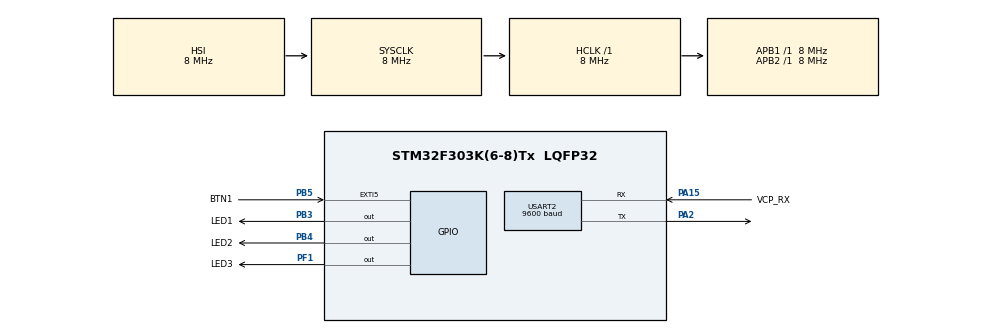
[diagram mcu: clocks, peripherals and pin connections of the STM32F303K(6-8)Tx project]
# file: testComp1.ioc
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Mcu.Family=STM32F3
Mcu.Name=STM32F303K(6-8)Tx
Mcu.Package=LQFP32
NVIC.EXTI9_5_IRQn=true\:0\:0\:false\:false\:true\:true\:true\:true
NVIC.PriorityGroup=NVIC_PRIORITYGROUP_4
NVIC.USART2_IRQn=true\:0\:0\:false\:false\:true\:true\:true\:true
PA13.GPIO_Label=SWDIO
PA13.Signal=SYS_JTMS-SWDIO
PA14.GPIO_Label=SWCLK
PA14.Signal=SYS_JTCK-SWCLK
PA15.GPIO_Label=VCP_RX
PA15.Mode=Asynchronous
PA15.Signal=USART2_RX
PA2.Mode=Asynchronous
PA2.Signal=USART2_TX
PB3.GPIO_Label=LED1
PB3.Signal=GPIO_Output
PB4.GPIO_Label=LED2
PB4.Signal=GPIO_Output
PB5.GPIO_Label=BTN1
PB5.GPIO_ModeDefaultEXTI=GPIO_MODE_IT_FALLING
PB5.Signal=GPXTI5
PF0\ /\ OSC_IN.GPIO_Label=MCO
PF0\ /\ OSC_IN.Signal=RCC_OSC_IN
PF1\ /\ OSC_OUT.GPIO_Label=LED3
PF1\ /\ OSC_OUT.Signal=GPIO_Output
ProjectManager.HeapSize=0x200
ProjectManager.StackSize=0x400
ProjectManager.TargetToolchain=STM32CubeIDE
RCC.AHBFreq_Value=8000000
RCC.APB1Freq_Value=8000000
RCC.APB2Freq_Value=8000000
RCC.CortexFreq_Value=8000000
RCC.HSE_VALUE=8000000
RCC.HSI_VALUE=8000000
RCC.SYSCLKFreq_VALUE=8000000
USART2.BaudRate=9600
USART2.VirtualMode-Asynchronous=VM_ASYNC
board=NUCLEO-F303K8

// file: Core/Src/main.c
/* USER CODE BEGIN Header */
/**
  ******************************************************************************
  * @file           : main.c
  * @brief          : Main program body
  ******************************************************************************
  * @attention
  *
  * Copyright (c) 2025 STMicroelectronics.
  * All rights reserved.
  *
  * This software is licensed under terms that can be found in the LICENSE file
  * in the root directory of this software component.
  * If no LICENSE file comes with this software, it is provided AS-IS.
  *
  ******************************************************************************
  */
/* USER CODE END Header */
#include "main.h"

/* USER CODE BEGIN Includes */
#include <string.h>
/* USER CODE END Includes */

/* USER CODE BEGIN PD */
#define DB_TIME 250
/* USER CODE END PD */

UART_HandleTypeDef huart2;

/* USER CODE BEGIN PV */
unsigned long lastState = 0;
uint8_t mainCounter = 1;
/* USER CODE END PV */

void SystemClock_Config(void);
static void MX_GPIO_Init(void);
static void MX_USART2_UART_Init(void);
/* USER CODE BEGIN PFP */
char* utoa(uint32_t value, char* buffer);
void printUtoa(uint32_t value);
void mostrar_en_leds(uint8_t numero);
void printMessages(uint8_t Value, uint16_t Factorial);
uint16_t fact(uint8_t number);
/* USER CODE END PFP */

int main(void)
{

  /* MCU Configuration--------------------------------------------------------*/

  /* Reset of all peripherals, Initializes the Flash interface and the Systick. */
  HAL_Init();

  /* Configure the system clock */
  SystemClock_Config();

  /* Initialize all configured peripherals */
  MX_GPIO_Init();
  MX_USART2_UART_Init();

  /* Infinite loop */
  /* USER CODE BEGIN WHILE */
  printMessages(mainCounter, fact(mainCounter));
  while (1)
  {
	  mostrar_en_leds(mainCounter);
    /* USER CODE END WHILE */

  }
}

void SystemClock_Config(void)
{
  RCC_OscInitTypeDef RCC_OscInitStruct = {0};
  RCC_ClkInitTypeDef RCC_ClkInitStruct = {0};

  /** Initializes the RCC Oscillators according to the specified parameters
  * in the RCC_OscInitTypeDef structure.
  */
  RCC_OscInitStruct.OscillatorType = RCC_OSCILLATORTYPE_HSI;
  RCC_OscInitStruct.HSIState = RCC_HSI_ON;
  RCC_OscInitStruct.HSICalibrationValue = RCC_HSICALIBRATION_DEFAULT;
  RCC_OscInitStruct.PLL.PLLState = RCC_PLL_NONE;
  if (HAL_RCC_OscConfig(&RCC_OscInitStruct) != HAL_OK)
  {
    Error_Handler();
  }

  /** Initializes the CPU, AHB and APB buses clocks
  */
  RCC_ClkInitStruct.ClockType = RCC_CLOCKTYPE_HCLK|RCC_CLOCKTYPE_SYSCLK
                              |RCC_CLOCKTYPE_PCLK1|RCC_CLOCKTYPE_PCLK2;
  RCC_ClkInitStruct.SYSCLKSource = RCC_SYSCLKSOURCE_HSI;
  RCC_ClkInitStruct.AHBCLKDivider = RCC_SYSCLK_DIV1;
  RCC_ClkInitStruct.APB1CLKDivider = RCC_HCLK_DIV1;
  RCC_ClkInitStruct.APB2CLKDivider = RCC_HCLK_DIV1;

  if (HAL_RCC_ClockConfig(&RCC_ClkInitStruct, FLASH_LATENCY_0) != HAL_OK)
  {
    Error_Handler();
  }
}

static void MX_USART2_UART_Init(void)
{

  huart2.Instance = USART2;
  huart2.Init.BaudRate = 9600;
  huart2.Init.WordLength = UART_WORDLENGTH_8B;
  huart2.Init.StopBits = UART_STOPBITS_1;
  huart2.Init.Parity = UART_PARITY_NONE;
  huart2.Init.Mode = UART_MODE_TX_RX;
  huart2.Init.HwFlowCtl = UART_HWCONTROL_NONE;
  huart2.Init.OverSampling = UART_OVERSAMPLING_16;
  huart2.Init.OneBitSampling = UART_ONE_BIT_SAMPLE_DISABLE;
  huart2.AdvancedInit.AdvFeatureInit = UART_ADVFEATURE_NO_INIT;
  if (HAL_UART_Init(&huart2) != HAL_OK)
  {
    Error_Handler();
  }

}

static void MX_GPIO_Init(void)
{
  GPIO_InitTypeDef GPIO_InitStruct = {0};

  /* GPIO Ports Clock Enable */
  __HAL_RCC_GPIOF_CLK_ENABLE();
  __HAL_RCC_GPIOA_CLK_ENABLE();
  __HAL_RCC_GPIOB_CLK_ENABLE();

  /*Configure GPIO pin Output Level */
  HAL_GPIO_WritePin(LED3_GPIO_Port, LED3_Pin, GPIO_PIN_RESET);

  /*Configure GPIO pin Output Level */
  HAL_GPIO_WritePin(GPIOB, LED1_Pin|LED2_Pin, GPIO_PIN_RESET);

  /*Configure GPIO pin : LED3_Pin */
  GPIO_InitStruct.Pin = LED3_Pin;
  GPIO_InitStruct.Mode = GPIO_MODE_OUTPUT_PP;
  GPIO_InitStruct.Pull = GPIO_NOPULL;
  GPIO_InitStruct.Speed = GPIO_SPEED_FREQ_LOW;
  HAL_GPIO_Init(LED3_GPIO_Port, &GPIO_InitStruct);

  /*Configure GPIO pins : LED1_Pin LED2_Pin */
  GPIO_InitStruct.Pin = LED1_Pin|LED2_Pin;
  GPIO_InitStruct.Mode = GPIO_MODE_OUTPUT_PP;
  GPIO_InitStruct.Pull = GPIO_NOPULL;
  GPIO_InitStruct.Speed = GPIO_SPEED_FREQ_LOW;
  HAL_GPIO_Init(GPIOB, &GPIO_InitStruct);

  /*Configure GPIO pin : BTN1_Pin */
  GPIO_InitStruct.Pin = BTN1_Pin;
  GPIO_InitStruct.Mode = GPIO_MODE_IT_FALLING;
  GPIO_InitStruct.Pull = GPIO_NOPULL;
  HAL_GPIO_Init(BTN1_GPIO_Port, &GPIO_InitStruct);

  /* EXTI interrupt init*/
  HAL_NVIC_SetPriority(EXTI9_5_IRQn, 0, 0);
  HAL_NVIC_EnableIRQ(EXTI9_5_IRQn);

}

/* USER CODE BEGIN 4 */

void HAL_GPIO_EXTI_Callback(uint16_t GPIO_Pin)
{
	if (GPIO_Pin == GPIO_PIN_5) {
		if(HAL_GPIO_ReadPin(BTN1_GPIO_Port, BTN1_Pin) == 0){
			if ((HAL_GetTick() - lastState) > DB_TIME){
				if (mainCounter>=1 && mainCounter <7){
					mainCounter++;
					printMessages(mainCounter, fact(mainCounter));
				}
				else {
					mainCounter=1;
					printMessages(mainCounter, fact(mainCounter));
				}
			}
		  	lastState=HAL_GetTick();
		}
    }
}

void mostrar_en_leds(uint8_t numero) {
   HAL_GPIO_WritePin(LED1_GPIO_Port, LED1_Pin, (numero >> 0) & 0x01); // Bit 0
   HAL_GPIO_WritePin(LED2_GPIO_Port, LED2_Pin, (numero >> 1) & 0x01); // Bit 1
   HAL_GPIO_WritePin(LED3_GPIO_Port, LED3_Pin, (numero >> 2) & 0x01); // Bit 2
}

char* utoa(uint32_t value, char* buffer) {
    char* ptr = buffer;
    char* ptr1 = buffer;
    char tmp_char;
    uint32_t tmp_value;
    do {
        tmp_value = value;
        value /= 10;
        *ptr++ = '0' + (tmp_value - (value * 10));
    } while (value != 0);

    *ptr-- = '\0';
    while (ptr1 < ptr) {
        tmp_char = *ptr;
        *ptr-- = *ptr1;
        *ptr1++ = tmp_char;
    }

    return buffer;
}
void printUtoa(uint32_t value) {
	static char buffer[12];
    utoa(value, buffer);
    HAL_UART_Transmit(&huart2, (uint8_t*)buffer, strlen(buffer), HAL_MAX_DELAY);
}

void printMessages(uint8_t Value, uint16_t Factorial){
	uint8_t bufferValue = 7;
	uint8_t bufferFactorial = 10;
	HAL_UART_Transmit(&huart2, (uint8_t*)"Valor: ", bufferValue, HAL_MAX_DELAY);
	printUtoa(Value);
	HAL_UART_Transmit(&huart2, (uint8_t*)"\t", 1, HAL_MAX_DELAY);
	HAL_UART_Transmit(&huart2, (uint8_t*)"Factorial: ", bufferFactorial, HAL_MAX_DELAY);
	printUtoa(Factorial);
	HAL_UART_Transmit(&huart2, (uint8_t*)"\n", 1, HAL_MAX_DELAY);
}

uint16_t fact(uint8_t number){
	uint16_t resultF;
	uint16_t facto=number;
	if (number==1){
		resultF=1;
	}
	else{
		for (uint8_t i=1; i<number; i++){
			facto = facto * i;
		}
		resultF=facto;
	}
	return resultF;
}
/* USER CODE END 4 */

void Error_Handler(void)
{
  __disable_irq();
  while (1)
  {
  }
}
